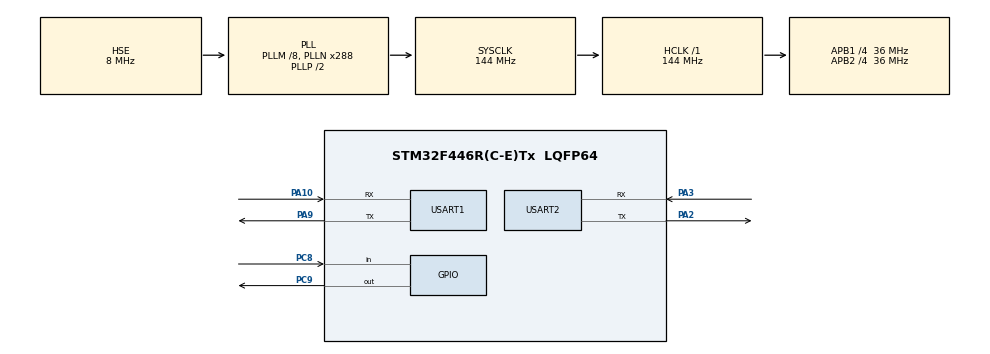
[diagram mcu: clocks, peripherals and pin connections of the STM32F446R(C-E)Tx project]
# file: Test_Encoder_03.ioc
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Mcu.Family=STM32F4
Mcu.Name=STM32F446R(C-E)Tx
Mcu.Package=LQFP64
NVIC.PriorityGroup=NVIC_PRIORITYGROUP_4
NVIC.TIM2_IRQn=true\:0\:0\:false\:true\:true\:1\:true
PA10.Mode=Asynchronous
PA10.Signal=USART1_RX
PA2.Mode=Asynchronous
PA2.Signal=USART2_TX
PA3.Mode=Asynchronous
PA3.Signal=USART2_RX
PA9.Mode=Asynchronous
PA9.Signal=USART1_TX
PC8.Signal=GPIO_Input
PC9.GPIO_Speed=GPIO_SPEED_FREQ_VERY_HIGH
PC9.Signal=GPIO_Output
PH0-OSC_IN.Mode=HSE-External-Clock-Source
PH0-OSC_IN.Signal=RCC_OSC_IN
PH1-OSC_OUT.Mode=HSE-External-Clock-Source
PH1-OSC_OUT.Signal=RCC_OSC_OUT
ProjectManager.HeapSize=0x200
ProjectManager.StackSize=0x400
ProjectManager.TargetToolchain=SW4STM32
RCC.AHBFreq_Value=144000000
RCC.APB1CLKDivider=RCC_HCLK_DIV4
RCC.APB1Freq_Value=36000000
RCC.APB1TimFreq_Value=72000000
RCC.APB2CLKDivider=RCC_HCLK_DIV4
RCC.APB2Freq_Value=36000000
RCC.APB2TimFreq_Value=72000000
RCC.CortexFreq_Value=144000000
RCC.HCLKFreq_Value=144000000
RCC.HSE_VALUE=8000000
RCC.PLLM=8
RCC.PLLN=288
RCC.PLLSourceVirtual=RCC_PLLSOURCE_HSE
RCC.SYSCLKFreq_VALUE=144000000
RCC.SYSCLKSource=RCC_SYSCLKSOURCE_PLLCLK
RCC.USBFreq_Value=144000000
RCC.VCOOutputFreq_Value=288000000
TIM2.Period=1500
TIM2.Prescaler=36
TIM3.Period=65500
TIM3.Prescaler=18
USART1.VirtualMode=VM_ASYNC
USART2.VirtualMode=VM_ASYNC
VP_TIM2_VS_ClockSourceINT.Mode=Internal
VP_TIM2_VS_ClockSourceITR.Mode=TriggerSource_ITR0
VP_TIM3_VS_ClockSourceINT.Mode=Internal
board=custom

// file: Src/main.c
/**
  ******************************************************************************
  * @file           : main.c
  * @brief          : Main program body
  ******************************************************************************
  ** This notice applies to any and all portions of this file
  * that are not between comment pairs USER CODE BEGIN and
  * USER CODE END. Other portions of this file, whether
  * inserted by the user or by software development tools
  * are owned by their respective copyright owners.
  *
  * COPYRIGHT(c) 2018 STMicroelectronics
  *
  * Redistribution and use in source and binary forms, with or without modification,
  * are permitted provided that the following conditions are met:
  *   1. Redistributions of source code must retain the above copyright notice,
  *      this list of conditions and the following disclaimer.
  *   2. Redistributions in binary form must reproduce the above copyright notice,
  *      this list of conditions and the following disclaimer in the documentation
  *      and/or other materials provided with the distribution.
  *   3. Neither the name of STMicroelectronics nor the names of its contributors
  *      may be used to endorse or promote products derived from this software
  *      without specific prior written permission.
  *
  * THIS SOFTWARE IS PROVIDED BY THE COPYRIGHT HOLDERS AND CONTRIBUTORS "AS IS"
  * AND ANY EXPRESS OR IMPLIED WARRANTIES, INCLUDING, BUT NOT LIMITED TO, THE
  * IMPLIED WARRANTIES OF MERCHANTABILITY AND FITNESS FOR A PARTICULAR PURPOSE ARE
  * DISCLAIMED. IN NO EVENT SHALL THE COPYRIGHT HOLDER OR CONTRIBUTORS BE LIABLE
  * FOR ANY DIRECT, INDIRECT, INCIDENTAL, SPECIAL, EXEMPLARY, OR CONSEQUENTIAL
  * DAMAGES (INCLUDING, BUT NOT LIMITED TO, PROCUREMENT OF SUBSTITUTE GOODS OR
  * SERVICES; LOSS OF USE, DATA, OR PROFITS; OR BUSINESS INTERRUPTION) HOWEVER
  * CAUSED AND ON ANY THEORY OF LIABILITY, WHETHER IN CONTRACT, STRICT LIABILITY,
  * OR TORT (INCLUDING NEGLIGENCE OR OTHERWISE) ARISING IN ANY WAY OUT OF THE USE
  * OF THIS SOFTWARE, EVEN IF ADVISED OF THE POSSIBILITY OF SUCH DAMAGE.
  *
  ******************************************************************************
  */
#include "main.h"
#include "stm32f4xx_hal.h"

/* USER CODE BEGIN Includes */
#include "stdio.h"
#include "stdlib.h"
#include "string.h"
#include "Eagle_TRT.h"

/* USER CODE END Includes */

TIM_HandleTypeDef htim2;
TIM_HandleTypeDef htim3;

UART_HandleTypeDef huart1;
UART_HandleTypeDef huart2;

/* USER CODE BEGIN PV */
/* Private variables ---------------------------------------------------------*/
TIM_HandleTypeDef s_TimerInstance = {.Instance = TIM2};
TIM_HandleTypeDef a_TimerInstance = {.Instance = TIM3};

/* USER CODE END PV */

void SystemClock_Config(void);
static void MX_GPIO_Init(void);
static void MX_TIM2_Init(void);
static void MX_TIM3_Init(void);
static void MX_USART1_UART_Init(void);
static void MX_USART2_UART_Init(void);
static void MX_NVIC_Init(void);

/* USER CODE BEGIN PFP */
/* Private function prototypes -----------------------------------------------*/
int flag = 0;
double angles_array[15];
double speed_avrg = 0;
/* USER CODE END PFP */

int main(void)
{

  /* MCU Configuration----------------------------------------------------------*/

  /* Reset of all peripherals, Initializes the Flash interface and the Systick. */
  HAL_Init();

  /* Configure the system clock */
  SystemClock_Config();

  /* Initialize all configured peripherals */
  MX_GPIO_Init();
  MX_TIM2_Init();
  MX_TIM3_Init();
  MX_USART1_UART_Init();
  MX_USART2_UART_Init();

  /* Initialize interrupts */
  MX_NVIC_Init();
  /* USER CODE BEGIN 2 */
  HAL_TIM_Base_Start(&htim2);
  HAL_TIM_Base_Start(&htim3);
  __HAL_TIM_SET_COUNTER(&a_TimerInstance, 0);
  __HAL_TIM_SET_COUNTER(&s_TimerInstance, 0);
  char txt[100];
  HAL_TIM_Base_Start_IT(&htim2);
  /* USER CODE END 2 */

  /* Infinite loop */
  while (1)
  {

  /* USER CODE BEGIN 3 */
	  //sprintf(txt, "%d \t %d", (int)angles_array[1], (int)(speed * 10));
	  sprintf(txt, "%d", (int)(speed_avrg * 100));
	  print(&huart2, txt);

  }
  /* USER CODE END 3 */

}

void SystemClock_Config(void)
{

  RCC_OscInitTypeDef RCC_OscInitStruct;
  RCC_ClkInitTypeDef RCC_ClkInitStruct;

    /**Configure the main internal regulator output voltage
    */
  __HAL_RCC_PWR_CLK_ENABLE();

  __HAL_PWR_VOLTAGESCALING_CONFIG(PWR_REGULATOR_VOLTAGE_SCALE1);

    /**Initializes the CPU, AHB and APB busses clocks
    */
  RCC_OscInitStruct.OscillatorType = RCC_OSCILLATORTYPE_HSE;
  RCC_OscInitStruct.HSEState = RCC_HSE_BYPASS;
  RCC_OscInitStruct.PLL.PLLState = RCC_PLL_ON;
  RCC_OscInitStruct.PLL.PLLSource = RCC_PLLSOURCE_HSE;
  RCC_OscInitStruct.PLL.PLLM = 8;
  RCC_OscInitStruct.PLL.PLLN = 288;
  RCC_OscInitStruct.PLL.PLLP = RCC_PLLP_DIV2;
  RCC_OscInitStruct.PLL.PLLQ = 2;
  RCC_OscInitStruct.PLL.PLLR = 2;
  if (HAL_RCC_OscConfig(&RCC_OscInitStruct) != HAL_OK)
  {
    _Error_Handler(__FILE__, __LINE__);
  }

    /**Initializes the CPU, AHB and APB busses clocks
    */
  RCC_ClkInitStruct.ClockType = RCC_CLOCKTYPE_HCLK|RCC_CLOCKTYPE_SYSCLK
                              |RCC_CLOCKTYPE_PCLK1|RCC_CLOCKTYPE_PCLK2;
  RCC_ClkInitStruct.SYSCLKSource = RCC_SYSCLKSOURCE_PLLCLK;
  RCC_ClkInitStruct.AHBCLKDivider = RCC_SYSCLK_DIV1;
  RCC_ClkInitStruct.APB1CLKDivider = RCC_HCLK_DIV4;
  RCC_ClkInitStruct.APB2CLKDivider = RCC_HCLK_DIV4;

  if (HAL_RCC_ClockConfig(&RCC_ClkInitStruct, FLASH_LATENCY_4) != HAL_OK)
  {
    _Error_Handler(__FILE__, __LINE__);
  }

    /**Configure the Systick interrupt time
    */
  HAL_SYSTICK_Config(HAL_RCC_GetHCLKFreq()/1000);

    /**Configure the Systick
    */
  HAL_SYSTICK_CLKSourceConfig(SYSTICK_CLKSOURCE_HCLK);

  /* SysTick_IRQn interrupt configuration */
  HAL_NVIC_SetPriority(SysTick_IRQn, 0, 0);
}

/**
  * @brief NVIC Configuration.
  * @retval None
  */
static void MX_NVIC_Init(void)
{
  /* TIM2_IRQn interrupt configuration */
  HAL_NVIC_SetPriority(TIM2_IRQn, 0, 0);
  HAL_NVIC_EnableIRQ(TIM2_IRQn);
}

/* TIM2 init function */
static void MX_TIM2_Init(void)
{

  TIM_ClockConfigTypeDef sClockSourceConfig;
  TIM_SlaveConfigTypeDef sSlaveConfig;
  TIM_MasterConfigTypeDef sMasterConfig;

  htim2.Instance = TIM2;
  htim2.Init.Prescaler = 36;
  htim2.Init.CounterMode = TIM_COUNTERMODE_UP;
  htim2.Init.Period = 1000;
  htim2.Init.ClockDivision = TIM_CLOCKDIVISION_DIV1;
  if (HAL_TIM_Base_Init(&htim2) != HAL_OK)
  {
    _Error_Handler(__FILE__, __LINE__);
  }

  sClockSourceConfig.ClockSource = TIM_CLOCKSOURCE_INTERNAL;
  if (HAL_TIM_ConfigClockSource(&htim2, &sClockSourceConfig) != HAL_OK)
  {
    _Error_Handler(__FILE__, __LINE__);
  }

  sSlaveConfig.SlaveMode = TIM_SLAVEMODE_DISABLE;
  sSlaveConfig.InputTrigger = TIM_TS_ITR0;
  if (HAL_TIM_SlaveConfigSynchronization(&htim2, &sSlaveConfig) != HAL_OK)
  {
    _Error_Handler(__FILE__, __LINE__);
  }

  sMasterConfig.MasterOutputTrigger = TIM_TRGO_RESET;
  sMasterConfig.MasterSlaveMode = TIM_MASTERSLAVEMODE_DISABLE;
  if (HAL_TIMEx_MasterConfigSynchronization(&htim2, &sMasterConfig) != HAL_OK)
  {
    _Error_Handler(__FILE__, __LINE__);
  }

}

/* TIM3 init function */
static void MX_TIM3_Init(void)
{

  TIM_ClockConfigTypeDef sClockSourceConfig;
  TIM_MasterConfigTypeDef sMasterConfig;

  htim3.Instance = TIM3;
  htim3.Init.Prescaler = 18;
  htim3.Init.CounterMode = TIM_COUNTERMODE_UP;
  htim3.Init.Period = 65500;
  htim3.Init.ClockDivision = TIM_CLOCKDIVISION_DIV1;
  if (HAL_TIM_Base_Init(&htim3) != HAL_OK)
  {
    _Error_Handler(__FILE__, __LINE__);
  }

  sClockSourceConfig.ClockSource = TIM_CLOCKSOURCE_INTERNAL;
  if (HAL_TIM_ConfigClockSource(&htim3, &sClockSourceConfig) != HAL_OK)
  {
    _Error_Handler(__FILE__, __LINE__);
  }

  sMasterConfig.MasterOutputTrigger = TIM_TRGO_RESET;
  sMasterConfig.MasterSlaveMode = TIM_MASTERSLAVEMODE_DISABLE;
  if (HAL_TIMEx_MasterConfigSynchronization(&htim3, &sMasterConfig) != HAL_OK)
  {
    _Error_Handler(__FILE__, __LINE__);
  }

}

/* USART1 init function */
static void MX_USART1_UART_Init(void)
{

  huart1.Instance = USART1;
  huart1.Init.BaudRate = 115200;
  huart1.Init.WordLength = UART_WORDLENGTH_8B;
  huart1.Init.StopBits = UART_STOPBITS_1;
  huart1.Init.Parity = UART_PARITY_NONE;
  huart1.Init.Mode = UART_MODE_TX_RX;
  huart1.Init.HwFlowCtl = UART_HWCONTROL_NONE;
  huart1.Init.OverSampling = UART_OVERSAMPLING_16;
  if (HAL_UART_Init(&huart1) != HAL_OK)
  {
    _Error_Handler(__FILE__, __LINE__);
  }

}

/* USART2 init function */
static void MX_USART2_UART_Init(void)
{

  huart2.Instance = USART2;
  huart2.Init.BaudRate = 115200;
  huart2.Init.WordLength = UART_WORDLENGTH_8B;
  huart2.Init.StopBits = UART_STOPBITS_1;
  huart2.Init.Parity = UART_PARITY_NONE;
  huart2.Init.Mode = UART_MODE_TX_RX;
  huart2.Init.HwFlowCtl = UART_HWCONTROL_NONE;
  huart2.Init.OverSampling = UART_OVERSAMPLING_16;
  if (HAL_UART_Init(&huart2) != HAL_OK)
  {
    _Error_Handler(__FILE__, __LINE__);
  }

}

/** Configure pins as
        * Analog
        * Input
        * Output
        * EVENT_OUT
        * EXTI
*/
static void MX_GPIO_Init(void)
{

  GPIO_InitTypeDef GPIO_InitStruct;

  /* GPIO Ports Clock Enable */
  __HAL_RCC_GPIOH_CLK_ENABLE();
  __HAL_RCC_GPIOA_CLK_ENABLE();
  __HAL_RCC_GPIOC_CLK_ENABLE();

  /*Configure GPIO pin Output Level */
  HAL_GPIO_WritePin(GPIOC, GPIO_PIN_9, GPIO_PIN_RESET);

  /*Configure GPIO pin : PC8 */
  GPIO_InitStruct.Pin = GPIO_PIN_8;
  GPIO_InitStruct.Mode = GPIO_MODE_INPUT;
  GPIO_InitStruct.Pull = GPIO_NOPULL;
  HAL_GPIO_Init(GPIOC, &GPIO_InitStruct);

  /*Configure GPIO pin : PC9 */
  GPIO_InitStruct.Pin = GPIO_PIN_9;
  GPIO_InitStruct.Mode = GPIO_MODE_OUTPUT_PP;
  GPIO_InitStruct.Pull = GPIO_NOPULL;
  GPIO_InitStruct.Speed = GPIO_SPEED_FREQ_VERY_HIGH;
  HAL_GPIO_Init(GPIOC, &GPIO_InitStruct);

}

/* USER CODE BEGIN 4 */
void HAL_TIM_PeriodElapsedCallback(TIM_HandleTypeDef *htim){
	encoder_tim_interrupt(&htim2, angles_array, &speed_avrg, &htim3);
}
/* USER CODE END 4 */

void _Error_Handler(char *file, int line)
{
  while(1)
  {
  }
}

/************************ (C) COPYRIGHT STMicroelectronics *****END OF FILE****/
